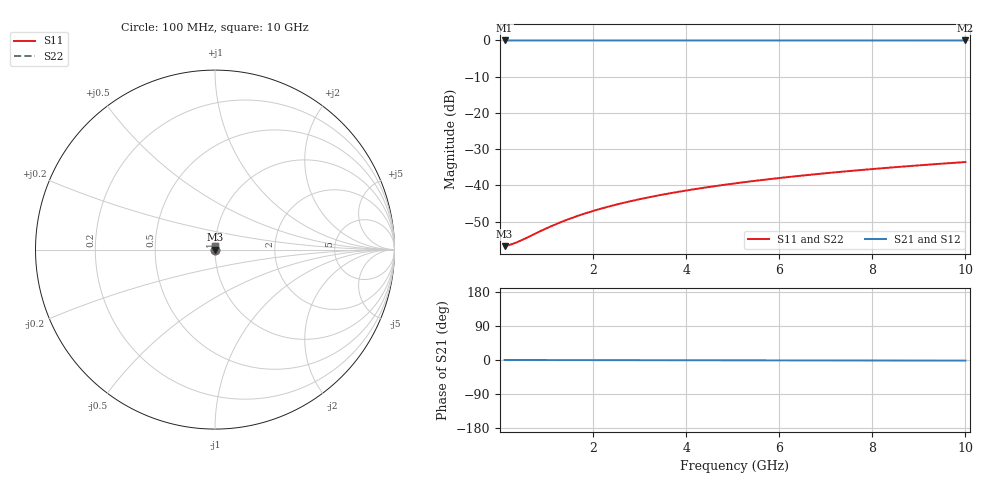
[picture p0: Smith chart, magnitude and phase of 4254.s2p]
# Hz S RI R 50.00
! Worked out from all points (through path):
!   100 points, 100 MHz to 10 GHz, reference 50 ohm
!   highest |S21| = -0.01 dB at 100 MHz (marker M1); lowest = 0.0 dB at 10 GHz (marker M2)
!   lowest |S11| = -56.7 dB at 100 MHz (marker M3), VSWR 1.00, Z = 50.1 + j0.0209 ohm
!   |S11| at or under -10 dB: start of sweep to end of sweep
!   |S22| runs from -56.7 to -33.5 dB; largest |S21 - S12| = 0
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1e8  0.00144 0.000209  0.9986 -0.000279  0.9986 -0.000279  0.00144 0.000209
2e8  0.00145 0.000417  0.9985 -0.000559  0.9985 -0.000559  0.00145 0.000417
3e8  0.00146 0.000626  0.9985 -0.000838  0.9985 -0.000838  0.00146 0.000626
5e8  0.00147 0.00104  0.9985 -0.0014  0.9985 -0.0014  0.00147 0.00104
9e8  0.00149 0.00188  0.9985 -0.00251  0.9985 -0.00251  0.00149 0.00188
1.2e9  0.0015 0.0025  0.9985 -0.00335  0.9985 -0.00335  0.0015 0.0025
1.5e9  0.00151 0.00313  0.9985 -0.00419  0.9985 -0.00419  0.00151 0.00313
1.8e9  0.00152 0.00376  0.9985 -0.00503  0.9985 -0.00503  0.00152 0.00376
2.1e9  0.00153 0.00438  0.9985 -0.00587  0.9985 -0.00587  0.00153 0.00438
2.5e9  0.00155 0.00522  0.9984 -0.00699  0.9984 -0.00699  0.00155 0.00522
2.9e9  0.00157 0.00605  0.9984 -0.0081  0.9984 -0.0081  0.00157 0.00605
3.4e9  0.00159 0.0071  0.9984 -0.0095  0.9984 -0.0095  0.00159 0.0071
3.8e9  0.00162 0.00793  0.9984 -0.0106  0.9984 -0.0106  0.00162 0.00793
4.2e9  0.00164 0.00877  0.9984 -0.0117  0.9984 -0.0117  0.00164 0.00877
4.6e9  0.00167 0.0096  0.9983 -0.0129  0.9983 -0.0129  0.00167 0.0096
5.1e9  0.0017 0.0106  0.9983 -0.0143  0.9983 -0.0143  0.0017 0.0106
5.9e9  0.00176 0.0123  0.9982 -0.0165  0.9982 -0.0165  0.00176 0.0123
6.7e9  0.00183 0.014  0.9982 -0.0187  0.9982 -0.0187  0.00183 0.014
7.5e9  0.0019 0.0157  0.9981 -0.021  0.9981 -0.021  0.0019 0.0157
8.4e9  0.00199 0.0176  0.998 -0.0235  0.998 -0.0235  0.00199 0.0176
9.2e9  0.00209 0.0192  0.9979 -0.0258  0.9979 -0.0258  0.00209 0.0192
1e10  0.00218 0.0209  0.9978 -0.028  0.9978 -0.028  0.00218 0.0209
